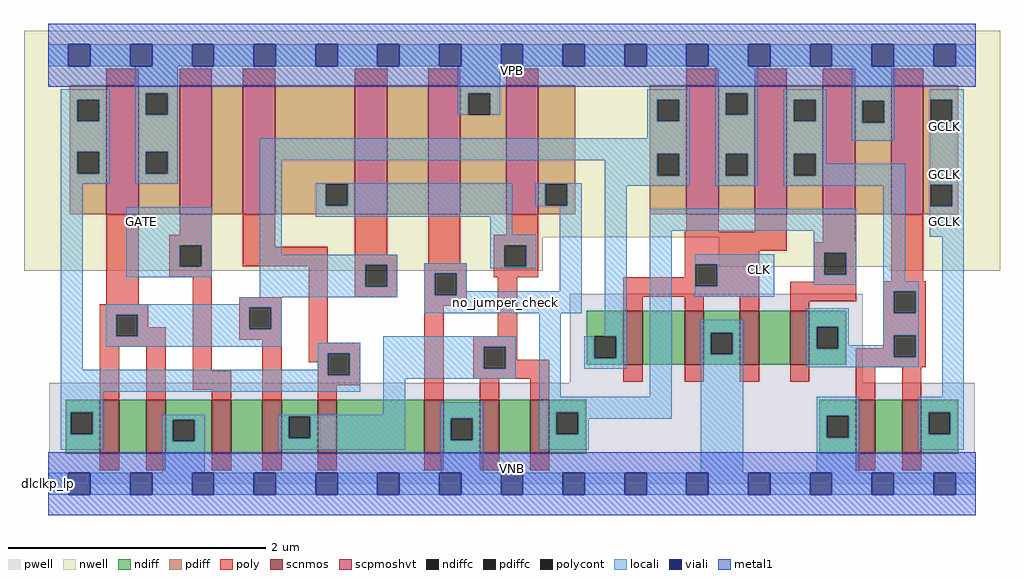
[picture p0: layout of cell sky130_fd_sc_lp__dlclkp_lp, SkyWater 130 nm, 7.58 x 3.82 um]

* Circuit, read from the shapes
.subckt sky130_fd_sc_lp__dlclkp_lp CLK GATE VGND VNB VPB VPWR GCLK
XM1 n1 n2 n3 VNB sky130_fd_pr__nfet_01v8 w=0.42 l=0.15
XM2 VGND n2 n1 VNB sky130_fd_pr__nfet_01v8 w=0.42 l=0.15
XM3 n4 GATE VGND VNB sky130_fd_pr__nfet_01v8 w=0.42 l=0.15
XM4 n5 n2 n4 VNB sky130_fd_pr__nfet_01v8 w=0.42 l=0.15
XM5 n6 n3 n5 VNB sky130_fd_pr__nfet_01v8 w=0.42 l=0.15
XM6 VGND n7 n6 VNB sky130_fd_pr__nfet_01v8 w=0.42 l=0.15
XM7 n8 n5 VGND VNB sky130_fd_pr__nfet_01v8 w=0.42 l=0.15
XM8 n7 n5 n8 VNB sky130_fd_pr__nfet_01v8 w=0.42 l=0.15
XM9 n9 CLK n2 VNB sky130_fd_pr__nfet_01v8 w=0.42 l=0.15
XM10 VGND CLK n9 VNB sky130_fd_pr__nfet_01v8 w=0.42 l=0.15
XM11 n10 CLK VGND VNB sky130_fd_pr__nfet_01v8 w=0.42 l=0.15
XM12 n11 n7 n10 VNB sky130_fd_pr__nfet_01v8 w=0.42 l=0.15
XM13 n12 n11 VGND VNB sky130_fd_pr__nfet_01v8 w=0.42 l=0.15
XM14 GCLK n11 n12 VNB sky130_fd_pr__nfet_01v8 w=0.42 l=0.15
XM15 VPWR n2 n3 VPB sky130_fd_pr__pfet_01v8_hvt w=1 l=0.25
XM16 n13 GATE VPWR VPB sky130_fd_pr__pfet_01v8_hvt w=1 l=0.25
XM17 n5 n3 n13 VPB sky130_fd_pr__pfet_01v8_hvt w=1 l=0.25
XM18 n14 n2 n5 VPB sky130_fd_pr__pfet_01v8_hvt w=1 l=0.25
XM19 VPWR n7 n14 VPB sky130_fd_pr__pfet_01v8_hvt w=1 l=0.25
XM20 n7 n5 VPWR VPB sky130_fd_pr__pfet_01v8_hvt w=1 l=0.25
XM21 VPWR CLK n2 VPB sky130_fd_pr__pfet_01v8_hvt w=1 l=0.25
XM22 n11 CLK VPWR VPB sky130_fd_pr__pfet_01v8_hvt w=1 l=0.25
XM23 VPWR n7 n11 VPB sky130_fd_pr__pfet_01v8_hvt w=1 l=0.25
XM24 GCLK n11 VPWR VPB sky130_fd_pr__pfet_01v8_hvt w=1 l=0.25
.ends

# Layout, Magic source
magic
tech sky130A
magscale 1 2
<< nwell >>
rect -38 383 1478 704
rect -38 331 768 383
rect 1041 337 1478 383
rect 1307 331 1478 337
<< pwell >>
rect 810 157 1265 295
rect 1 49 1439 157
rect 0 0 1440 49
<< scnmos >>
rect 893 185 923 269
rect 988 185 1018 269
rect 1074 185 1104 269
rect 1152 185 1182 269
rect 80 47 110 131
rect 152 47 182 131
rect 254 47 284 131
rect 332 47 362 131
rect 418 47 448 131
rect 584 47 614 131
rect 670 47 700 131
rect 748 47 778 131
rect 1254 47 1284 131
rect 1326 47 1356 131
<< scpmoshvt >>
rect 90 419 140 619
rect 204 419 254 619
rect 302 419 352 619
rect 476 419 526 619
rect 590 419 640 619
rect 711 419 761 619
rect 991 419 1041 619
rect 1097 419 1147 619
rect 1203 419 1253 619
rect 1309 419 1359 619
<< ndiff >>
rect 836 229 893 269
rect 836 195 848 229
rect 882 195 893 229
rect 836 185 893 195
rect 923 185 988 269
rect 1018 235 1074 269
rect 1018 201 1029 235
rect 1063 201 1074 235
rect 1018 185 1074 201
rect 1104 185 1152 269
rect 1182 244 1239 269
rect 1182 210 1193 244
rect 1227 210 1239 244
rect 1182 185 1239 210
rect 27 111 80 131
rect 27 77 35 111
rect 69 77 80 111
rect 27 47 80 77
rect 110 47 152 131
rect 182 100 254 131
rect 182 66 193 100
rect 227 66 254 100
rect 182 47 254 66
rect 284 47 332 131
rect 362 105 418 131
rect 362 71 373 105
rect 407 71 418 105
rect 362 47 418 71
rect 448 47 584 131
rect 614 102 670 131
rect 614 68 625 102
rect 659 68 670 102
rect 614 47 670 68
rect 700 47 748 131
rect 778 111 835 131
rect 778 77 789 111
rect 823 77 835 111
rect 778 47 835 77
rect 1197 106 1254 131
rect 1197 72 1209 106
rect 1243 72 1254 106
rect 1197 47 1254 72
rect 1284 47 1326 131
rect 1356 111 1413 131
rect 1356 77 1367 111
rect 1401 77 1413 111
rect 1356 47 1413 77
<< pdiff >>
rect 33 597 90 619
rect 33 563 45 597
rect 79 563 90 597
rect 33 516 90 563
rect 33 482 45 516
rect 79 482 90 516
rect 33 419 90 482
rect 140 607 204 619
rect 140 573 151 607
rect 185 573 204 607
rect 140 516 204 573
rect 140 482 151 516
rect 185 482 204 516
rect 140 419 204 482
rect 254 419 302 619
rect 352 466 476 619
rect 352 432 431 466
rect 465 432 476 466
rect 352 419 476 432
rect 526 419 590 619
rect 640 607 711 619
rect 640 573 652 607
rect 686 573 711 607
rect 640 419 711 573
rect 761 466 818 619
rect 761 432 772 466
rect 806 432 818 466
rect 761 419 818 432
rect 934 597 991 619
rect 934 563 946 597
rect 980 563 991 597
rect 934 513 991 563
rect 934 479 946 513
rect 980 479 991 513
rect 934 419 991 479
rect 1041 607 1097 619
rect 1041 573 1052 607
rect 1086 573 1097 607
rect 1041 513 1097 573
rect 1041 479 1052 513
rect 1086 479 1097 513
rect 1041 419 1097 479
rect 1147 597 1203 619
rect 1147 563 1158 597
rect 1192 563 1203 597
rect 1147 513 1203 563
rect 1147 479 1158 513
rect 1192 479 1203 513
rect 1147 419 1203 479
rect 1253 595 1309 619
rect 1253 561 1264 595
rect 1298 561 1309 595
rect 1253 419 1309 561
rect 1359 597 1413 619
rect 1359 563 1370 597
rect 1404 563 1413 597
rect 1359 465 1413 563
rect 1359 431 1370 465
rect 1404 431 1413 465
rect 1359 419 1413 431
<< ndiffc >>
rect 848 195 882 229
rect 1029 201 1063 235
rect 1193 210 1227 244
rect 35 77 69 111
rect 193 66 227 100
rect 373 71 407 105
rect 625 68 659 102
rect 789 77 823 111
rect 1209 72 1243 106
rect 1367 77 1401 111
<< pdiffc >>
rect 45 563 79 597
rect 45 482 79 516
rect 151 573 185 607
rect 151 482 185 516
rect 431 432 465 466
rect 652 573 686 607
rect 772 432 806 466
rect 946 563 980 597
rect 946 479 980 513
rect 1052 573 1086 607
rect 1052 479 1086 513
rect 1158 563 1192 597
rect 1158 479 1192 513
rect 1264 561 1298 595
rect 1370 563 1404 597
rect 1370 431 1404 465
<< poly >>
rect 90 619 140 645
rect 204 619 254 645
rect 302 619 352 645
rect 476 619 526 645
rect 590 619 640 645
rect 711 619 761 645
rect 991 619 1041 645
rect 1097 619 1147 645
rect 1203 619 1253 645
rect 1309 619 1359 645
rect 90 279 140 419
rect 204 387 254 419
rect 188 371 254 387
rect 188 337 204 371
rect 238 337 254 371
rect 302 368 352 419
rect 302 338 434 368
rect 188 321 254 337
rect 80 263 155 279
rect 80 229 105 263
rect 139 243 155 263
rect 139 229 182 243
rect 80 213 182 229
rect 80 131 110 213
rect 152 131 182 213
rect 224 176 254 321
rect 296 274 362 290
rect 296 240 312 274
rect 346 240 362 274
rect 296 224 362 240
rect 224 146 284 176
rect 254 131 284 146
rect 332 131 362 224
rect 404 219 434 338
rect 476 356 526 419
rect 476 340 542 356
rect 590 343 640 419
rect 711 387 761 419
rect 991 392 1041 419
rect 1097 392 1147 419
rect 692 371 761 387
rect 476 306 492 340
rect 526 306 542 340
rect 476 290 542 306
rect 584 327 650 343
rect 584 293 600 327
rect 634 293 650 327
rect 692 337 708 371
rect 742 337 761 371
rect 692 321 761 337
rect 988 362 1147 392
rect 1203 375 1253 419
rect 988 341 1104 362
rect 988 321 1005 341
rect 584 277 650 293
rect 404 203 484 219
rect 404 189 434 203
rect 418 169 434 189
rect 468 169 484 203
rect 418 153 484 169
rect 418 131 448 153
rect 584 131 614 277
rect 698 229 728 321
rect 893 307 1005 321
rect 1039 307 1104 341
rect 1189 359 1255 375
rect 1189 325 1205 359
rect 1239 325 1255 359
rect 1189 314 1255 325
rect 1309 315 1359 419
rect 893 291 1104 307
rect 893 269 923 291
rect 988 269 1018 291
rect 1074 269 1104 291
rect 1152 284 1255 314
rect 1297 299 1363 315
rect 1152 269 1182 284
rect 660 213 728 229
rect 660 179 676 213
rect 710 193 728 213
rect 710 179 778 193
rect 1297 265 1313 299
rect 1347 265 1363 299
rect 1297 231 1363 265
rect 1297 211 1313 231
rect 1254 197 1313 211
rect 1347 197 1363 231
rect 660 163 778 179
rect 670 131 700 163
rect 748 131 778 163
rect 893 159 923 185
rect 988 159 1018 185
rect 1074 159 1104 185
rect 1152 159 1182 185
rect 1254 181 1363 197
rect 1254 131 1284 181
rect 1326 131 1356 181
rect 80 21 110 47
rect 152 21 182 47
rect 254 21 284 47
rect 332 21 362 47
rect 418 21 448 47
rect 584 21 614 47
rect 670 21 700 47
rect 748 21 778 47
rect 1254 21 1284 47
rect 1326 21 1356 47
<< polycont >>
rect 204 337 238 371
rect 105 229 139 263
rect 312 240 346 274
rect 492 306 526 340
rect 600 293 634 327
rect 708 337 742 371
rect 434 169 468 203
rect 1005 307 1039 341
rect 1205 325 1239 359
rect 676 179 710 213
rect 1313 265 1347 299
rect 1313 197 1347 231
<< locali >>
rect 0 649 31 683
rect 65 649 127 683
rect 161 649 223 683
rect 257 649 319 683
rect 353 649 415 683
rect 449 649 511 683
rect 545 649 607 683
rect 641 649 703 683
rect 737 649 799 683
rect 833 649 895 683
rect 929 649 991 683
rect 1025 649 1087 683
rect 1121 649 1183 683
rect 1217 649 1279 683
rect 1313 649 1375 683
rect 1409 649 1440 683
rect 19 597 95 613
rect 19 563 45 597
rect 79 563 95 597
rect 19 516 95 563
rect 19 482 45 516
rect 79 482 95 516
rect 19 466 95 482
rect 135 607 201 649
rect 135 573 151 607
rect 185 573 201 607
rect 636 607 702 649
rect 636 573 652 607
rect 686 573 702 607
rect 930 597 996 613
rect 135 516 201 573
rect 930 563 946 597
rect 980 563 996 597
rect 930 537 996 563
rect 135 482 151 516
rect 185 482 201 516
rect 135 466 201 482
rect 328 513 996 537
rect 328 503 946 513
rect 19 177 53 466
rect 121 371 254 430
rect 121 337 204 371
rect 238 337 254 371
rect 121 321 254 337
rect 328 356 362 503
rect 864 479 946 503
rect 980 479 996 513
rect 415 466 720 467
rect 415 432 431 466
rect 465 432 720 466
rect 415 415 720 432
rect 756 466 828 467
rect 756 432 772 466
rect 806 432 828 466
rect 756 431 828 432
rect 686 387 720 415
rect 686 371 758 387
rect 328 340 542 356
rect 328 306 492 340
rect 526 306 542 340
rect 328 290 542 306
rect 584 327 650 343
rect 686 337 708 371
rect 742 337 758 371
rect 686 335 758 337
rect 584 293 600 327
rect 634 299 650 327
rect 794 299 828 431
rect 634 293 828 299
rect 296 279 362 290
rect 89 274 362 279
rect 89 263 312 274
rect 89 229 105 263
rect 139 240 312 263
rect 346 240 362 274
rect 584 265 828 293
rect 864 463 996 479
rect 1036 607 1102 649
rect 1036 573 1052 607
rect 1086 573 1102 607
rect 1036 513 1102 573
rect 1036 479 1052 513
rect 1086 479 1102 513
rect 1036 463 1102 479
rect 1142 597 1208 613
rect 1142 563 1158 597
rect 1192 563 1208 597
rect 1142 513 1208 563
rect 1248 595 1314 649
rect 1248 561 1264 595
rect 1298 561 1314 595
rect 1248 533 1314 561
rect 1369 597 1422 613
rect 1369 563 1370 597
rect 1404 563 1422 597
rect 1142 479 1158 513
rect 1192 497 1208 513
rect 1192 479 1331 497
rect 1142 463 1331 479
rect 139 229 362 240
rect 89 213 362 229
rect 418 203 484 219
rect 418 177 434 203
rect 19 169 434 177
rect 468 169 484 203
rect 19 143 484 169
rect 520 213 726 229
rect 520 179 676 213
rect 710 179 726 213
rect 520 163 726 179
rect 19 111 85 143
rect 19 77 35 111
rect 69 77 85 111
rect 520 107 554 163
rect 762 135 796 265
rect 864 229 898 463
rect 832 195 848 229
rect 882 195 898 229
rect 832 179 898 195
rect 934 393 1255 427
rect 934 135 968 393
rect 1189 359 1255 393
rect 1004 341 1127 357
rect 1004 307 1005 341
rect 1039 307 1127 341
rect 1189 325 1205 359
rect 1239 325 1255 359
rect 1189 309 1255 325
rect 1297 315 1331 463
rect 1369 465 1422 563
rect 1369 431 1370 465
rect 1404 431 1422 465
rect 1369 384 1422 431
rect 1004 291 1127 307
rect 1297 299 1352 315
rect 19 53 85 77
rect 177 100 243 107
rect 177 66 193 100
rect 227 66 243 100
rect 177 17 243 66
rect 357 105 554 107
rect 357 71 373 105
rect 407 71 554 105
rect 357 53 554 71
rect 609 102 675 127
rect 609 68 625 102
rect 659 68 675 102
rect 609 17 675 68
rect 762 111 968 135
rect 762 77 789 111
rect 823 101 968 111
rect 1013 235 1079 255
rect 1013 201 1029 235
rect 1063 201 1079 235
rect 823 77 839 101
rect 762 53 839 77
rect 1013 17 1079 201
rect 1177 244 1243 273
rect 1177 210 1193 244
rect 1227 215 1243 244
rect 1297 265 1313 299
rect 1347 265 1352 299
rect 1297 231 1352 265
rect 1297 215 1313 231
rect 1227 210 1313 215
rect 1177 197 1313 210
rect 1347 197 1352 231
rect 1177 181 1352 197
rect 1388 135 1422 384
rect 1193 106 1259 135
rect 1193 72 1209 106
rect 1243 72 1259 106
rect 1193 17 1259 72
rect 1351 111 1422 135
rect 1351 77 1367 111
rect 1401 77 1422 111
rect 1351 53 1422 77
rect 0 -17 31 17
rect 65 -17 127 17
rect 161 -17 223 17
rect 257 -17 319 17
rect 353 -17 415 17
rect 449 -17 511 17
rect 545 -17 607 17
rect 641 -17 703 17
rect 737 -17 799 17
rect 833 -17 895 17
rect 929 -17 991 17
rect 1025 -17 1087 17
rect 1121 -17 1183 17
rect 1217 -17 1279 17
rect 1313 -17 1375 17
rect 1409 -17 1440 17
<< viali >>
rect 31 649 65 683
rect 127 649 161 683
rect 223 649 257 683
rect 319 649 353 683
rect 415 649 449 683
rect 511 649 545 683
rect 607 649 641 683
rect 703 649 737 683
rect 799 649 833 683
rect 895 649 929 683
rect 991 649 1025 683
rect 1087 649 1121 683
rect 1183 649 1217 683
rect 1279 649 1313 683
rect 1375 649 1409 683
rect 31 -17 65 17
rect 127 -17 161 17
rect 223 -17 257 17
rect 319 -17 353 17
rect 415 -17 449 17
rect 511 -17 545 17
rect 607 -17 641 17
rect 703 -17 737 17
rect 799 -17 833 17
rect 895 -17 929 17
rect 991 -17 1025 17
rect 1087 -17 1121 17
rect 1183 -17 1217 17
rect 1279 -17 1313 17
rect 1375 -17 1409 17
<< metal1 >>
rect 0 683 1440 715
rect 0 649 31 683
rect 65 649 127 683
rect 161 649 223 683
rect 257 649 319 683
rect 353 649 415 683
rect 449 649 511 683
rect 545 649 607 683
rect 641 649 703 683
rect 737 649 799 683
rect 833 649 895 683
rect 929 649 991 683
rect 1025 649 1087 683
rect 1121 649 1183 683
rect 1217 649 1279 683
rect 1313 649 1375 683
rect 1409 649 1440 683
rect 0 617 1440 649
rect 0 17 1440 49
rect 0 -17 31 17
rect 65 -17 127 17
rect 161 -17 223 17
rect 257 -17 319 17
rect 353 -17 415 17
rect 449 -17 511 17
rect 545 -17 607 17
rect 641 -17 703 17
rect 737 -17 799 17
rect 833 -17 895 17
rect 929 -17 991 17
rect 1025 -17 1087 17
rect 1121 -17 1183 17
rect 1217 -17 1279 17
rect 1313 -17 1375 17
rect 1409 -17 1440 17
rect 0 -49 1440 -17
<< labels >>
flabel pwell s 0 0 1440 49 0 FreeSans 200 0 0 0 VNB
port 4 nsew ground bidirectional
flabel nwell s 0 617 1440 666 0 FreeSans 200 0 0 0 VPB
port 5 nsew power bidirectional
rlabel comment s 0 0 0 0 4 dlclkp_lp
flabel comment s 710 282 710 282 0 FreeSans 200 270 0 0 no_jumper_check
flabel metal1 s 0 617 1440 666 0 FreeSans 340 0 0 0 VPWR
port 6 nsew power bidirectional
flabel metal1 s 0 0 1440 49 0 FreeSans 340 0 0 0 VGND
port 3 nsew ground bidirectional
flabel locali s 1375 390 1409 424 0 FreeSans 340 0 0 0 GCLK
port 7 nsew signal output
flabel locali s 1375 464 1409 498 0 FreeSans 340 0 0 0 GCLK
port 7 nsew signal output
flabel locali s 1375 538 1409 572 0 FreeSans 340 0 0 0 GCLK
port 7 nsew signal output
flabel locali s 1087 316 1121 350 0 FreeSans 340 0 0 0 CLK
port 1 nsew clock input
flabel locali s 127 390 161 424 0 FreeSans 340 0 0 0 GATE
port 2 nsew signal input
<< properties >>
string LEFsite unit
string LEFclass CORE
string FIXED_BBOX 0 0 1440 666
string GDS_FILE $PDKPATH/libs.ref/sky130_fd_sc_lp/gds/sky130_fd_sc_lp.gds
string LEFsymmetry X Y R90
string GDS_END 3486268
string GDS_START 3476164
<< end >>
